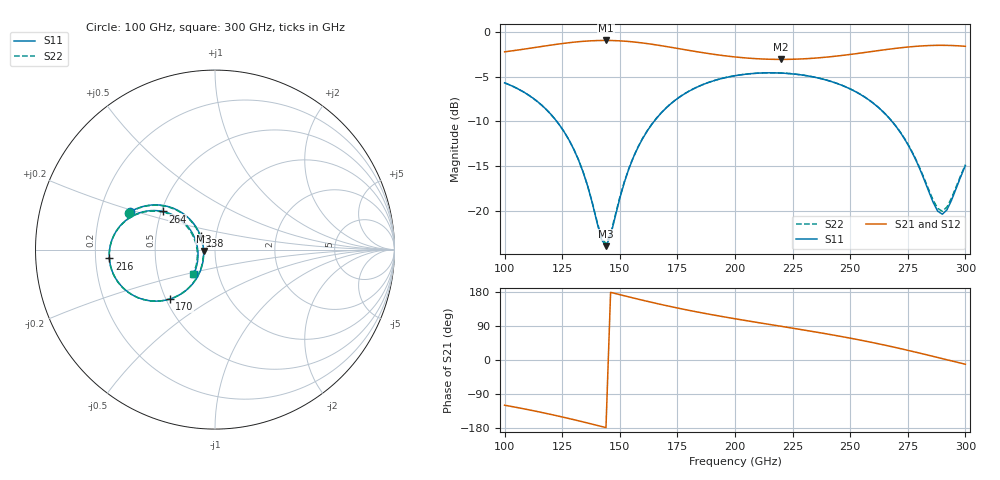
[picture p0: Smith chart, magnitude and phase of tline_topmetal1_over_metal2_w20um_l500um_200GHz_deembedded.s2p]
! Created with skrf 2.2.0 (http://scikit-rf.org).
# GHz S DB R 50.0
! Port[1] = P1
! Port[2] = P2
!freq dBS11 angS11 dBS21 angS21 dBS12 angS12 dBS22 angS22
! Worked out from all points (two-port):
!   101 points, 100 GHz to 300 GHz, reference 50 ohm
!   highest |S21| = -0.96 dB at 144 GHz (marker M1); lowest = -3.1 dB at 220 GHz (marker M2)
!   |S21| within 3 dB of the highest: start of sweep to end of sweep
!   lowest |S11| = -24.0 dB at 144 GHz (marker M3), VSWR 1.14, Z = 44.1 - j0.629 ohm
!   |S11| at or under -10 dB: 122.6 GHz to 164.9 GHz (42.27 GHz wide, 29.4 % of centre); 268.1 GHz to end of sweep
!   |S22| runs from -23.7 to -4.6 dB; largest |S21 - S12| = 5.2e-16
!   S11 on the Smith chart (normalised r, x): 100 GHz: 0.33, +0.19; 138 GHz: 0.84, +0.13; 170 GHz: 0.52, -0.34; 216 GHz: 0.26, -0.04; 264 GHz: 0.51, +0.25; 300 GHz: 0.76, -0.21
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100  -5.69 156.4  -2.23 -119.3  -2.23 -119.3  -5.70 156.6
120  -9.19 136.8  -1.48 -143.5  -1.48 -143.5  -9.19 137.2
128  -12.11 130.6  -1.21 -154.5  -1.21 -154.5  -12.10 131.1
134  -15.61 129.9  -1.06 -163.3  -1.06 -163.3  -15.59 130.7
138  -19.07 136.4  -0.99 -169.3  -0.99 -169.3  -19.01 137.4
142  -23.18 161.9  -0.96 -175.3  -0.96 -175.3  -22.98 163.0
144  -23.96 -173.6  -0.96 -178.4  -0.96 -178.4  -23.69 -173.2
156  -13.97 -122.6  -1.12 163.5  -1.12 163.5  -13.92 -123.0
168  -9.05 -130.6  -1.54 146.4  -1.54 146.4  -9.03 -130.7
170  -8.53 -132.5  -1.63 143.7  -1.63 143.7  -8.51 -132.6
184  -6.12 -146.4  -2.24 126.3  -2.24 126.3  -6.11 -146.3
200  -4.90 -161.3  -2.80 108.9  -2.80 108.9  -4.89 -161.2
216  -4.58 -175.2  -3.06 92.9  -3.06 92.9  -4.57 -175.0
220  -4.60 -178.6  -3.07 88.9  -3.07 88.9  -4.60 -178.4
234  -5.04 169.5  -2.94 74.9  -2.94 74.9  -5.03 169.7
250  -6.38 155.5  -2.52 57.6  -2.52 57.6  -6.37 155.9
264  -8.86 143.9  -2.03 40.5  -2.03 40.5  -8.84 144.5
268  -9.96 141.2  -1.89 35.2  -1.89 35.2  -9.94 141.9
276  -13.04 138.9  -1.67 24.2  -1.67 24.2  -12.98 139.8
286  -19.06 159.2  -1.51 9.6  -1.51 9.6  -18.81 160.3
290  -20.38 -173.6  -1.50 3.6  -1.50 3.6  -20.05 -173.4
300  -14.95 -131.3  -1.61 -11.2  -1.61 -11.2  -14.84 -132.1
